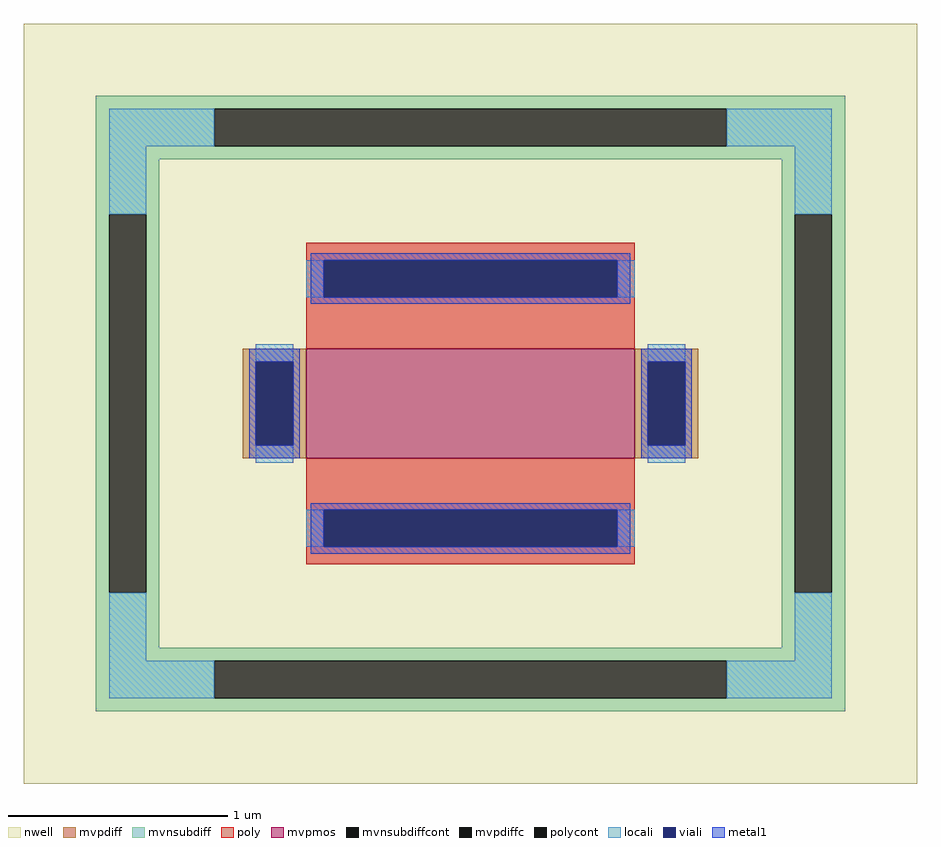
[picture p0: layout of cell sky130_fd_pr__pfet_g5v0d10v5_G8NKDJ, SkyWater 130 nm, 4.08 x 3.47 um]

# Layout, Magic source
magic
tech sky130A
magscale 1 2
<< nwell >>
rect -408 -347 408 347
<< mvpmos >>
rect -150 -50 150 50
<< mvpdiff >>
rect -208 38 -150 50
rect -208 -38 -196 38
rect -162 -38 -150 38
rect -208 -50 -150 -38
rect 150 38 208 50
rect 150 -38 162 38
rect 196 -38 208 38
rect 150 -50 208 -38
<< mvpdiffc >>
rect -196 -38 -162 38
rect 162 -38 196 38
<< mvnsubdiff >>
rect -342 269 342 281
rect -342 235 -234 269
rect 234 235 342 269
rect -342 223 342 235
rect -342 173 -284 223
rect -342 -173 -330 173
rect -296 -173 -284 173
rect 284 173 342 223
rect -342 -223 -284 -173
rect 284 -173 296 173
rect 330 -173 342 173
rect 284 -223 342 -173
rect -342 -235 342 -223
rect -342 -269 -234 -235
rect 234 -269 342 -235
rect -342 -281 342 -269
<< mvnsubdiffcont >>
rect -234 235 234 269
rect -330 -173 -296 173
rect 296 -173 330 173
rect -234 -269 234 -235
<< poly >>
rect -150 131 150 147
rect -150 97 -134 131
rect 134 97 150 131
rect -150 50 150 97
rect -150 -97 150 -50
rect -150 -131 -134 -97
rect 134 -131 150 -97
rect -150 -147 150 -131
<< polycont >>
rect -134 97 134 131
rect -134 -131 134 -97
<< locali >>
rect -330 235 -234 269
rect 234 235 330 269
rect -330 173 -296 235
rect 296 173 330 235
rect -150 97 -134 131
rect 134 97 150 131
rect -196 38 -162 54
rect -196 -54 -162 -38
rect 162 38 196 54
rect 162 -54 196 -38
rect -150 -131 -134 -97
rect 134 -131 150 -97
rect -330 -235 -296 -173
rect 296 -235 330 -173
rect -330 -269 -234 -235
rect 234 -269 330 -235
<< viali >>
rect -134 97 134 131
rect -196 -38 -162 38
rect 162 -38 196 38
rect -134 -131 134 -97
<< metal1 >>
rect -146 131 146 137
rect -146 97 -134 131
rect 134 97 146 131
rect -146 91 146 97
rect -202 38 -156 50
rect -202 -38 -196 38
rect -162 -38 -156 38
rect -202 -50 -156 -38
rect 156 38 202 50
rect 156 -38 162 38
rect 196 -38 202 38
rect 156 -50 202 -38
rect -146 -97 146 -91
rect -146 -131 -134 -97
rect 134 -131 146 -97
rect -146 -137 146 -131
<< properties >>
string FIXED_BBOX -313 -252 313 252
string gencell sky130_fd_pr__pfet_g5v0d10v5
string library sky130
string parameters w .5 l 1.5 m 1 nf 1 diffcov 100 polycov 100 guard 1 glc 1 grc 1 gtc 1 gbc 1 tbcov 100 rlcov 100 topc 1 botc 1 poverlap 0 doverlap 1 lmin 0.50 wmin 0.42 compatible {sky130_fd_pr__pfet_01v8  sky130_fd_pr__pfet_01v8_lvt sky130_fd_pr__pfet_01v8_hvt  sky130_fd_pr__pfet_g5v0d10v5} full_metal 1 viasrc 100 viadrn 100 viagate 100 viagb 0 viagr 0 viagl 0 viagt 0
<< end >>
